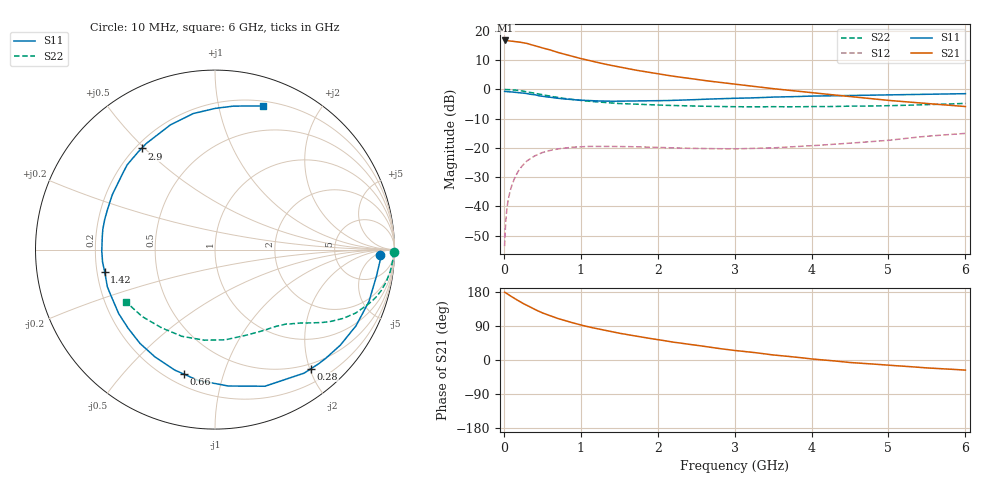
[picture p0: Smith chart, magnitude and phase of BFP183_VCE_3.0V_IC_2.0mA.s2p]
! Infineon Technologies  Discrete & RF Semiconductors
! BFP183
! VCE = 3.0 V,  IC =  2.0 mA
! Common Emitter S-Parameters:  Jan 2016
# GHz  S  MA  R  50
!  f  S11  S21  S12  S22
! GHz  MAG  ANG  MAG  ANG  MAG  ANG  MAG  ANG
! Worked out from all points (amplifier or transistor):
!   210 points, 10 MHz to 6 GHz, reference 50 ohm
!   highest |S21| = 16.7 dB at 20 MHz (marker M1)
!   |S21| within 3 dB of that: start of sweep to 566.5 MHz
!   unconditionally stable (mu >= 1): 2.087 GHz to 5.893 GHz
!   at 185 MHz: K = 0.09, MSG = 22.1 dB, |S12| = -28.1 dB
!   at 1.52 GHz: K = 0.73, MSG = 13.5 dB, |S12| = -19.5 dB
!   at 6 GHz: K = 0.97, MSG = 4.6 dB, |S12| = -15.0 dB
!   S11 on the Smith chart (normalised r, x): 10 MHz: 21, -9; 280 MHz: 0.42, -2.03; 660 MHz: 0.26, -0.75; 1.42 GHz: 0.23, -0.09; 2.9 GHz: 0.22, +0.49; 6 GHz: 0.25, +1.36
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0.01  0.9225 -2.0  6.795 178.9  0.0021 88.0  0.9991 -0.8
0.02  0.9216 -3.9  6.838 178.0  0.0043 89.1  0.9928 -1.4
0.05  0.9117 -9.3  6.769 173.7  0.0115 87.9  0.9923 -3.5
0.1  0.9052 -18.6  6.663 167.4  0.0222 78.4  0.9837 -7.2
0.2  0.8782 -37.3  6.434 155.0  0.0425 69.3  0.9542 -13.8
0.28  0.8526 -51.0  6.149 146.2  0.0564 61.6  0.9166 -18.5
0.4  0.8106 -69.9  5.59 133.5  0.0729 52.0  0.8597 -24.3
0.5  0.7638 -84.4  5.109 124.4  0.0833 44.8  0.8108 -28.2
0.6  0.7342 -97.5  4.721 116.6  0.0908 39.2  0.7656 -31.4
0.66  0.7151 -104.0  4.449 112.6  0.0939 36.1  0.7423 -32.9
0.8  0.6851 -119.2  3.948 103.4  0.0996 30.2  0.6949 -35.9
1.02  0.6501 -139.5  3.313 91.4  0.1048 22.9  0.6422 -39.6
1.2  0.6353 -154.1  2.916 83.2  0.1062 18.4  0.6119 -42.3
1.42  0.6268 -168.6  2.529 74.1  0.1059 14.8  0.5832 -45.4
1.8  0.6352 169.7  2.043 60.0  0.104 11.2  0.55 -50.6
2.02  0.6396 159.2  1.828 53.1  0.1018 10.1  0.5379 -53.9
2.4  0.6606 143.3  1.548 41.6  0.0985 9.9  0.5223 -60.7
2.9  0.6965 126.0  1.272 27.8  0.0965 12.7  0.5071 -70.3
3.1  0.7079 120.3  1.182 23.1  0.097 14.3  0.5039 -74.7
4.1  0.7699 97.2  0.852 1.1  0.111 22.3  0.5075 -99.6
5.1  0.8079 81.7  0.632 -15.1  0.1395 25.8  0.5298 -126.8
6  0.8438 71.4  0.509 -26.7  0.177 20.7  0.5763 -149.8
